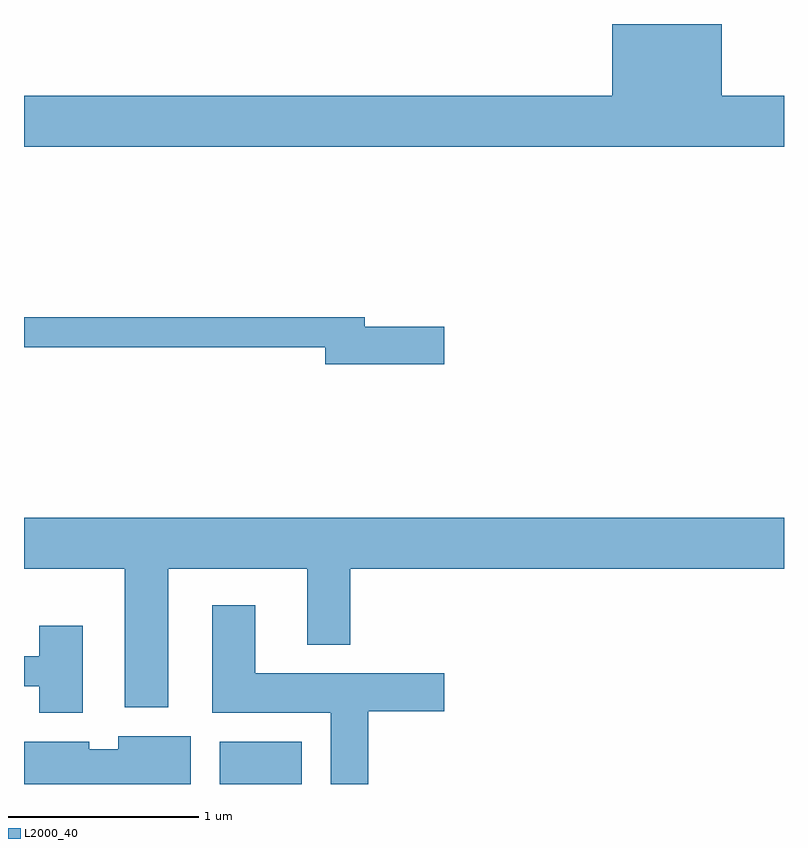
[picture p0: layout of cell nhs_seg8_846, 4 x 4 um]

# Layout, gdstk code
import gdstk
lib = gdstk.Library(unit=1e-6, precision=1e-09)
def R(c, l, rs):  # rectangles x0, y0, x1, y1
    for r in rs: c.add(gdstk.rectangle(r[:2], r[2:], *l))
def P(c, l, *ps):  # polygons
    for p in ps: c.add(gdstk.Polygon(p, *l))
L2000_40 = (2000, 40)

nhs_seg8_846 = lib.new_cell('nhs_seg8_846')
R(nhs_seg8_846, L2000_40, [(210.641,1886.342,211.074,1886.564)])
P(nhs_seg8_846, L2000_40, [(213.611,1889.964),(213.284,1889.964),(213.284,1890.342),(212.706,1890.342),(212.706,1889.964),(209.611,1889.964),(209.611,1889.696),(213.611,1889.696)],
  [(211.824,1888.749),(211.404,1888.749),(211.404,1888.799),(209.611,1888.799),(209.611,1888.641),(211.196,1888.641),(211.196,1888.551),(211.824,1888.551)],
  [(210.369,1887.476),(211.101,1887.476),(211.101,1887.076),(211.329,1887.076),(211.329,1887.476),(213.611,1887.476),(213.611,1887.744),(209.611,1887.744),(209.611,1887.476),(210.141,1887.476),(210.141,1886.746),(210.369,1886.746)],
  [(211.424,1886.726),(211.824,1886.726),(211.824,1886.924),(210.829,1886.924),(210.829,1887.284),(210.601,1887.284),(210.601,1886.716),(211.226,1886.716),(211.226,1886.342),(211.424,1886.342)],
  [(209.919,1887.174),(209.691,1887.174),(209.691,1887.014),(209.611,1887.014),(209.611,1886.856),(209.691,1886.856),(209.691,1886.716),(209.919,1886.716)],
  [(210.489,1886.594),(210.106,1886.594),(210.106,1886.524),(209.954,1886.524),(209.954,1886.564),(209.611,1886.564),(209.611,1886.342),(210.489,1886.342)])

lib.write_gds('nhs_seg8_846.gds')
